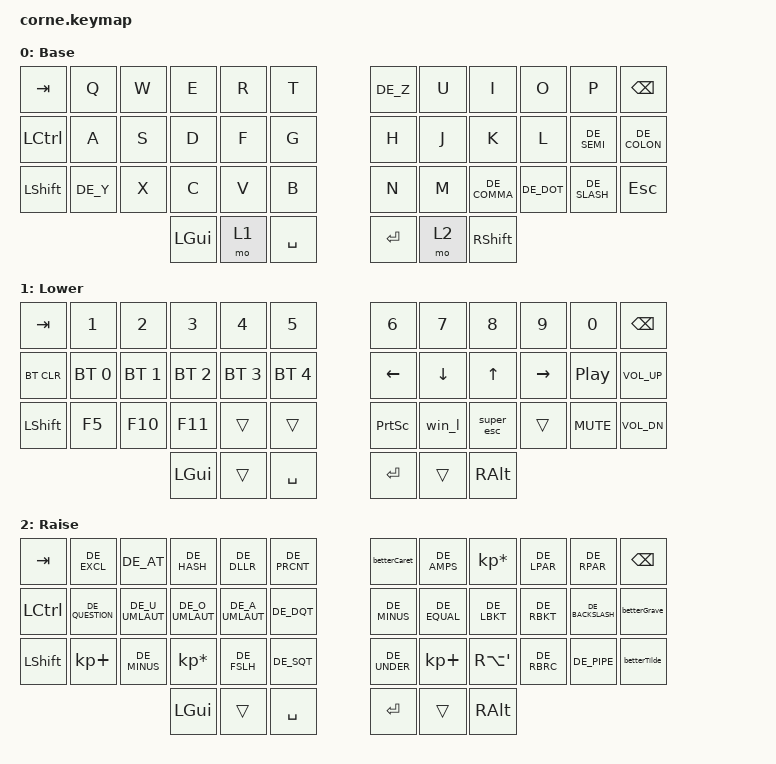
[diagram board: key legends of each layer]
/*
 * Copyright (c) 2020 The ZMK Contributors
 *
 * SPDX-License-Identifier: MIT
 */

#include <behaviors.dtsi>
#include <dt-bindings/zmk/bt.h>
#include <dt-bindings/zmk/keys.h>
#include "keys_de_swiss.h"

/ {
    macros {
        win_l: win_l {
            compatible = "zmk,behavior-macro";
            #binding-cells = <0>;
            bindings =
                <&macro_press>,
                <&kp LEFT_WIN>,
                <&macro_tap>,
                <&kp L>,
                <&macro_release>;

            label = "WIN_L";
        };

        super_esc: super_esc {
            compatible = "zmk,behavior-macro";
            #binding-cells = <0>;
            bindings =
                <&macro_press>,
                <&kp LEFT_WIN>,
                <&macro_tap>,
                <&kp ESCAPE>,
                <&macro_release>;

            label = "SUPER_ESC";
        };

        betterCaret: betterCaret {
            compatible = "zmk,behavior-macro";
            #binding-cells = <0>;
            bindings = <&kp DE_CARET &kp DE_CARET>;
            label = "BETTERCARET";
        };

        betterGrave: betterGrave {
            compatible = "zmk,behavior-macro";
            #binding-cells = <0>;
            bindings = <&kp DE_GRAVE &kp DE_GRAVE>;
            label = "BETTERGRAVE";
        };

        betterTilde: betterTilde {
            compatible = "zmk,behavior-macro";
            #binding-cells = <0>;
            bindings = <&kp DE_TILDE &kp DE_TILDE>;
            label = "BETTERTILDE";
        };

        betterLBRAC: betterLBRAC {
            compatible = "zmk,behavior-macro";
            #binding-cells = <0>;
        
            wait-ms = <30>;
            tap-ms = <30>;
        
            bindings = <
                &macro_press
                &kp RALT
                &macro_tap
                &kp DE_A_UMLAUT
                &macro_release
                &kp RALT
            >;

            label = "BETTERLBRAC";
        };

    };
    keymap {
        compatible = "zmk,keymap";

        default_layer {
            // -----------------------------------------------------------------------------------------
            // |  TAB |  Q  |  W  |  E  |  R  |  T  |   |  Y  |  U   |  I  |  O  |  P  | BKSP |
            // | CTRL |  A  |  S  |  D  |  F  |  G  |   |  H  |  J   |  K  |  L  |  ;  |  '   |
            // | SHFT |  Z  |  X  |  C  |  V  |  B  |   |  N  |  M   |  ,  |  .  |  /  | ESC  |
            //                    | GUI | LWR | SPC |   | ENT | RSE  | ALT |

            display-name = "Base";
            bindings = <
&kp TAB    &kp Q     &kp W  &kp E     &kp R  &kp T        &kp DE_Z  &kp U  &kp I            &kp O       &kp P         &kp BSPC
&kp LCTRL  &kp A     &kp S  &kp D     &kp F  &kp G        &kp H     &kp J  &kp K            &kp L       &kp DE_SEMI   &kp DE_COLON
&kp LSHFT  &kp DE_Y  &kp X  &kp C     &kp V  &kp B        &kp N     &kp M  &kp DE_COMMA     &kp DE_DOT  &kp DE_SLASH  &kp ESC
                            &kp LGUI  &mo 1  &kp SPACE    &kp RET   &mo 2  &kp RIGHT_SHIFT
            >;
        };

        lower_layer {
            // -----------------------------------------------------------------------------------------
            // |  TAB |  1  |  2  |  3  |  4  |  5  |   |  6  |  7  |  8  |  9  |  0  | BKSP |
            // | BTCLR| BT1 | BT2 | BT3 | BT4 | BT5 |   | LFT | DWN |  UP | RGT |     |      |
            // | SHFT |     |     |     |     |     |   |     |     |     |     |     |      |
            //                    | GUI |     | SPC |   | ENT |     | ALT |

            display-name = "Lower";
            bindings = <
&kp TAB     &kp N1        &kp N2        &kp N3        &kp N4        &kp N5          &kp N6           &kp N7    &kp N8      &kp N9     &kp N0            &kp BSPC
&bt BT_CLR  &bt BT_SEL 0  &bt BT_SEL 1  &bt BT_SEL 2  &bt BT_SEL 3  &bt BT_SEL 4    &kp LEFT         &kp DOWN  &kp UP      &kp RIGHT  &kp C_PLAY_PAUSE  &kp C_VOLUME_UP
&kp LSHFT   &kp F5        &kp F10       &kp F11       &trans        &trans          &kp PRINTSCREEN  &win_l    &super_esc  &trans     &kp C_MUTE        &kp C_VOL_DN
                                        &kp LGUI      &trans        &kp SPACE       &kp RET          &trans    &kp RALT
            >;
        };

        raise_layer {
            // -----------------------------------------------------------------------------------------
            // |  TAB |  !  |  @  |  #  |  $  |  %  |   |  ^  |  &  |  *  |  (  |  )  | BKSP |
            // | CTRL |     |     |     |     |     |   |  -  |  =  |  [  |  ]  |  \  |  `   |
            // | SHFT |     |     |     |     |     |   |  _  |  +  |  {  |  }  | "|" |  ~   |
            //                    | GUI |     | SPC |   | ENT |     | ALT |

            display-name = "Raise";
            bindings = <
&kp TAB    &kp DE_EXCL      &kp DE_AT        &kp DE_HASH      &kp DE_DLLR      &kp DE_PRCNT    &betterCaret  &kp DE_AMPS   &kp KP_ASTERISK  &kp DE_LPAR  &kp DE_RPAR       &kp BSPC
&kp LCTRL  &kp DE_QUESTION  &kp DE_U_UMLAUT  &kp DE_O_UMLAUT  &kp DE_A_UMLAUT  &kp DE_DQT      &kp DE_MINUS  &kp DE_EQUAL  &kp DE_LBKT      &kp DE_RBKT  &kp DE_BACKSLASH  &betterGrave
&kp LSHFT  &kp KP_PLUS      &kp DE_MINUS     &kp KP_ASTERISK  &kp DE_FSLH      &kp DE_SQT      &kp DE_UNDER  &kp KP_PLUS   &kp RA(APOSTROPHE)   &kp DE_RBRC  &kp DE_PIPE       &betterTilde
                                             &kp LGUI         &trans           &kp SPACE       &kp RET       &trans        &kp RALT
            >;
        };

        extra_1 { status = "reserved"; };

        extra_2 { status = "reserved"; };

        extra_3 { status = "reserved"; };
    };
};
